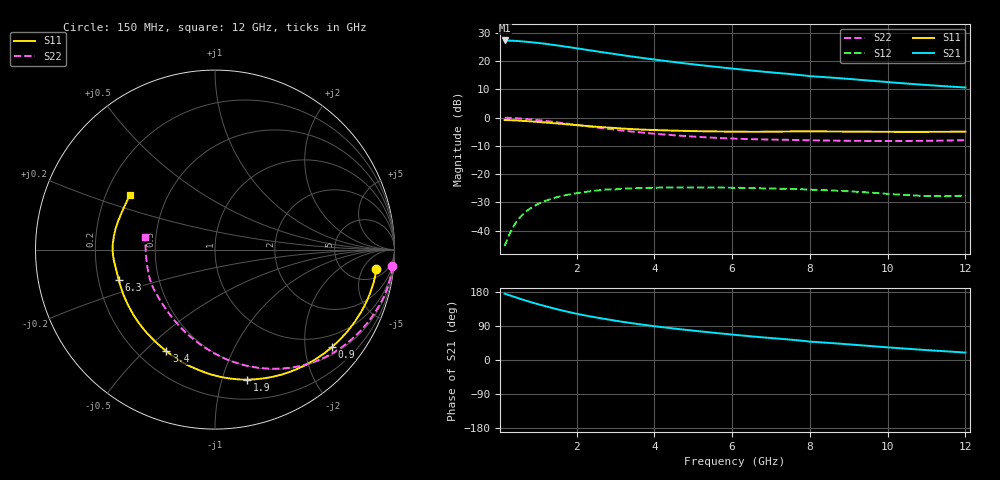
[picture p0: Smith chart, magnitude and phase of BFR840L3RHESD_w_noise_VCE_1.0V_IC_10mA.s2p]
! Infineon Technologies  Discrete & RF Semiconductors
! BFR840L3RHESD
! VCE =  1.0 V,  IC =  10 mA
! Common Emitter S-Parameters:  Jun 2012
# GHz  S  MA  R  50
!  f  S11  S21  S12  S22
! GHz  MAG  ANG  MAG  ANG  MAG  ANG  MAG  ANG
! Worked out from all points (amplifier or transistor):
!   91 points, 150 MHz to 12 GHz, reference 50 ohm
!   highest |S21| = 27.3 dB at 150 MHz (marker M1)
!   |S21| within 3 dB of that: start of sweep to 2.109 GHz
!   unconditionally stable (mu >= 1): 8.285 GHz to end of sweep
!   at 1.3 GHz: K = 0.13, MSG = 27.5 dB, |S12| = -29.0 dB
!   at 4.3 GHz: K = 0.42, MSG = 22.4 dB, |S12| = -24.8 dB
!   at 12 GHz: K = 2.06, MAG = 13.3 dB, |S12| = -27.6 dB
!   lowest NFmin = 0.70 dB at 450 MHz
!   S11 on the Smith chart (normalised r, x): 150 MHz: 8, -10; 900 MHz: 0.68, -2.62; 1.9 GHz: 0.37, -1.21; 3.4 GHz: 0.31, -0.58; 6.3 GHz: 0.29, -0.14; 12 GHz: 0.30, +0.27
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0.15  0.9049 -7.0  23.2 175.0  0.0053 87.2  0.993 -5.4
0.3  0.9001 -13.8  23.04 169.9  0.0094 84.1  0.9867 -11.1
0.45  0.8898 -20.6  22.73 164.8  0.0141 78.2  0.9738 -16.6
0.7  0.8679 -31.5  22.04 156.6  0.0217 70.1  0.9444 -25.2
0.9  0.8487 -39.7  21.36 150.4  0.027 64.8  0.9174 -31.8
1.2  0.8186 -51.4  20.21 141.9  0.0336 57.7  0.8735 -41.3
1.4  0.7978 -58.9  19.38 136.5  0.0374 53.5  0.8421 -47.2
1.7  0.7665 -69.5  18.11 129.0  0.0422 48.1  0.7928 -55.5
1.9  0.7459 -76.2  17.27 124.3  0.0448 44.8  0.7599 -60.7
2.2  0.7163 -85.5  16.06 118.0  0.0481 40.3  0.713 -68.0
2.5  0.6892 -93.8  14.93 112.3  0.051 36.0  0.6707 -74.7
2.8  0.6664 -101.4  13.92 107.1  0.0534 32.0  0.6332 -80.8
3.1  0.6451 -108.9  12.97 102.0  0.0547 29.1  0.5983 -86.7
3.4  0.6272 -115.6  12.12 97.5  0.0559 26.4  0.568 -92.1
4.2  0.5964 -131.3  10.23 86.7  0.0576 20.9  0.5059 -105.4
5.1  0.5755 -146.3  8.612 76.4  0.0579 15.3  0.4573 -118.9
6.1  0.5637 -160.2  7.262 66.1  0.0572 11.0  0.4237 -132.5
6.3  0.5623 -162.7  7.031 64.2  0.0569 10.3  0.4192 -135.1
8  0.5703 176.6  5.418 48.5  0.0531 5.6  0.3962 -157.6
8.5  0.5683 172.3  5.138 45.1  0.0516 4.4  0.392 -162.0
10.5  0.5588 155.9  3.999 29.7  0.0424 6.3  0.3862 179.8
12  0.5647 147.4  3.41 19.6  0.0415 18.4  0.3984 170.0
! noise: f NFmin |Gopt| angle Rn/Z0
0.45  0.7  0.31  6  0.16
0.9  0.73  0.31  11  0.15
1.9  0.76  0.33  30  0.15
3.5  0.77  0.32  51  0.14
4  0.79  0.32  60  0.13
5.5  0.82  0.33  74  0.13
7  0.88  0.32  93  0.12
8  0.94  0.3  105  0.11
10  1.04  0.29  125  0.1
12  1.18  0.26  161  0.09
